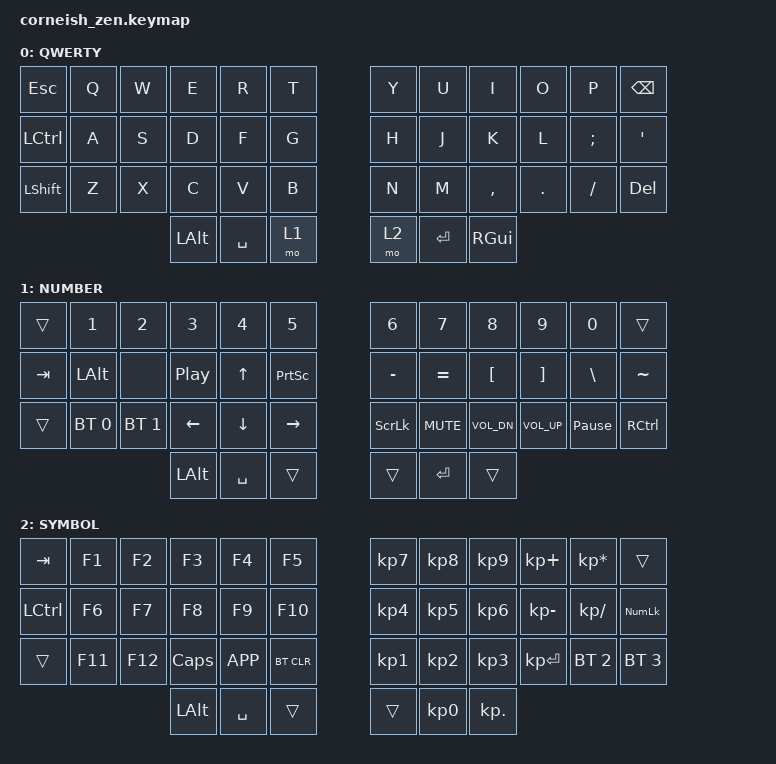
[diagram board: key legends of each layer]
/*
*
* Copyright (c) 2021 Darryl deHaan
* SPDX-License-Identifier: MIT
*
*/

#include <behaviors.dtsi>
#include <dt-bindings/zmk/bt.h>
#include <dt-bindings/zmk/keys.h>

/ {
    chosen {
        zmk,matrix_transform = &default_transform;

        // zmk,matrix_transform = &five_column_transform;
    };
};

/ {
    keymap {
        compatible = "zmk,keymap";

        default_layer {
            display-name = "QWERTY";

            // --------------------------------------------------------------------------------
            // |  TAB |  Q  |  W  |  E  |  R  |  T  |   |  Y  |  U   |  I  |  O  |  P  | BKSP |
            // | CTRL |  A  |  S  |  D  |  F  |  G  |   |  H  |  J   |  K  |  L  |  ;  |  '   |
            // | SHFT |  Z  |  X  |  C  |  V  |  B  |   |  N  |  M   |  ,  |  .  |  /  | ESC  |
            //                    | GUI | LWR | SPC |   | ENT | RSE  | ALT |

            bindings = <
&kp ESC    &kp Q  &kp W  &kp E         &kp R      &kp T    &kp Y  &kp U      &kp I      &kp O    &kp P     &kp BSPC
&kp LCTRL  &kp A  &kp S  &kp D         &kp F      &kp G    &kp H  &kp J      &kp K      &kp L    &kp SEMI  &kp SQT
&kp LSHFT  &kp Z  &kp X  &kp C         &kp V      &kp B    &kp N  &kp M      &kp COMMA  &kp DOT  &kp FSLH  &kp DEL
                         &kp LEFT_ALT  &kp SPACE  &mo 1    &mo 2  &kp ENTER  &kp RGUI
            >;
        };

        lower_layer {
            display-name = "NUMBER";

            // -----------------------------------------------------------------------------------------
            // |  TAB |  1  |  2  |  3  |  4  |  5  |   |  6  |  7  |  8  |  9  |  0  | BKSP |
            // | BTCLR| BT1 | BT2 | BT3 | BT4 |SD_UL|   | LFT | DWN |  UP | RGT |     |      |
            // | SHFT |     |     |     |     |     |   |     |     |     |     |     |      |
            //                    | GUI |     | SPC |   | ENT |     | ALT |

            bindings = <
&trans   &kp N1        &kp N2        &kp N3    &kp N4        &kp N5             &kp N6     &kp N7      &kp N8            &kp N9             &kp N0           &trans
&kp TAB  &kp LALT      &none         &kp C_PP  &kp UP_ARROW  &kp PRINTSCREEN    &kp MINUS  &kp EQUAL   &kp LEFT_BRACKET  &kp RIGHT_BRACKET  &kp BACKSLASH    &kp TILDE
&trans   &bt BT_SEL 0  &bt BT_SEL 1  &kp LEFT  &kp DOWN      &kp RIGHT          &kp SLCK   &kp C_MUTE  &kp C_VOL_DN      &kp C_VOL_UP       &kp PAUSE_BREAK  &kp RCTRL
                                     &kp LALT  &kp SPACE     &trans             &trans     &kp ENTER   &trans
            >;
        };

        raise_layer {
            display-name = "SYMBOL";

            // -----------------------------------------------------------------------------------------
            // |  TAB |  !  |  @  |  #  |  $  |  %  |   |  ^  |  &  |  *  |  (  |  )  | BKSP |
            // | CTRL |SD_UL|     |     |     |     |   |  -  |  =  |  [  |  ]  |  \  |  `   |
            // | SHFT |     |     |     |     |     |   |  _  |  +  |  {  |  }  | "|" |  ~   |
            //                    | GUI |     | SPC |   | ENT |     | ALT |

            bindings = <
&kp TAB    &kp F1   &kp F2   &kp F3    &kp F4     &kp F5        &kp KP_N7  &kp KP_N8  &kp KP_N9   &kp KP_PLUS   &kp KP_MULTIPLY  &trans
&kp LCTRL  &kp F6   &kp F7   &kp F8    &kp F9     &kp F10       &kp KP_N4  &kp KP_N5  &kp KP_N6   &kp KP_MINUS  &kp KP_DIVIDE    &kp KP_NLCK
&trans     &kp F11  &kp F12  &kp CAPS  &kp K_APP  &bt BT_CLR    &kp KP_N1  &kp KP_N2  &kp KP_N3   &kp KP_ENTER  &bt BT_SEL 2     &bt BT_SEL 3
                             &kp LALT  &kp SPACE  &trans        &trans     &kp KP_N0  &kp KP_DOT
            >;
        };
    };
};
